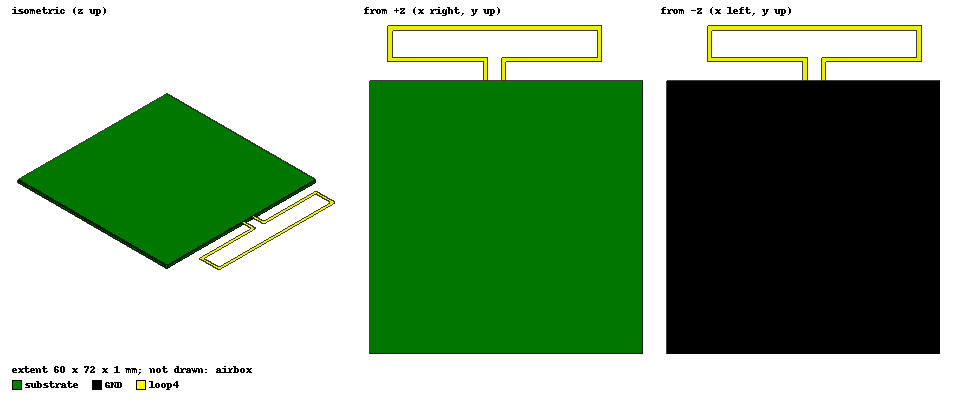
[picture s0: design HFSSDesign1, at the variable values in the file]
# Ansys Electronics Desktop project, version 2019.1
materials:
  vacuum: permittivity=1
  FR4_epoxy: permittivity=4.4 dielectric_loss_tangent=0.02
  copper: permeability=0.999991 conductivity=58000000
  air: permittivity=1.0006 permeability=1.0000004

design HFSSDesign1 (HFSS, DrivenTerminal, model units mm)
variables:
  sy = 60mm
  sx = 60mm
  h = 8mm
  h1 = 5mm
  d = 20mm
  d1 = 25mm
  d2 = 3mm
  w = 1mm
  subh = 1mm
  lam = 110mm
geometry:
  substrate [FR4_epoxy] = box(corner=(0mm, 0mm, 0mm), size=(sx, -sy, subh))
  loop1 = rectangle(corner=(d1, 0mm, subh), x_size=w, y_size=h1)
  loop2 = rectangle(corner=(d1, h1, subh), x_size=-d, y_size=-w)
  loop3 = rectangle(corner=(d1-d, h1-w, subh), x_size=-w, y_size=h)
  loop4 = rectangle(corner=(d1-d, h1+h-w, subh), x_size=d+w+d2/2, y_size=-w)
  GND = rectangle(corner=(0mm, 0mm, 0mm), x_size=sx, y_size=-sy)
  airbox [air] = box(corner=(-lam/2, -lam/2-sy, -lam/2), size=(lam+sx, lam+sy+2*h-w, lam+subh))
  loop4.unite(loop3, loop2, loop1)
  port = rectangle(corner=(d1, 0mm, 0mm), z_size=subh, x_size=w)
  GNDline = rectangle(corner=(d1+w+d2, 0mm, 0mm), z_size=subh, x_size=w)
  loop4_1 = loop4.duplicate_mirror(point=(27.5mm, 1mm, 0mm), normal=(1mm, 0mm, 0mm))
  loop4.unite(loop4_1)
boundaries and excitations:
  Rad1: Radiation Objects=airbox
  FiniteCond1: Finite Conductivity Objects=[loop4, GND] UseMaterial Material=copper IsInternal
  FiniteCond2: Finite Conductivity Objects=GNDline UseMaterial Material=copper IsInternal
  loop4_T1: Terminal port=1 Edges=loop4.edge(1 of 4) TerminalResistance=50ohm
  1: Lumped Port Faces=port.face Impedance=50ohm
  reference conductors: GND
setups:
  Setup1: HfssDriven Frequency=6GHz MaxDeltaS=0.02 MaximumPasses=8 MinimumPasses=1 MinimumConvergedPasses=1 PercentRefinement=30 BasisOrder=1 PortAccuracy=2
    sweep Sweep: 1GHz to 10GHz step 0.02GHz; Type=Interpolating InterpTolerance=0.5 InterpMaxSolns=250 PassivityErrorTolerance=0.0001
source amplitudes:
  1:1: 1V 0deg
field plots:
  Vector_Jsurf1, Vector_Jsurf2: Jsurf over loop4.face(at (16.25, 11.5, 1)) on Setup1 : LastAdaptive at Freq=6GHz Phase=0deg
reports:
  Terminal S Parameter Plot 1: dB(St(loop4_T1,loop4_T1)) vs Freq on Setup1 : Sweep; markers m1 at 2.68GHz, m2 at 3.6GHz
